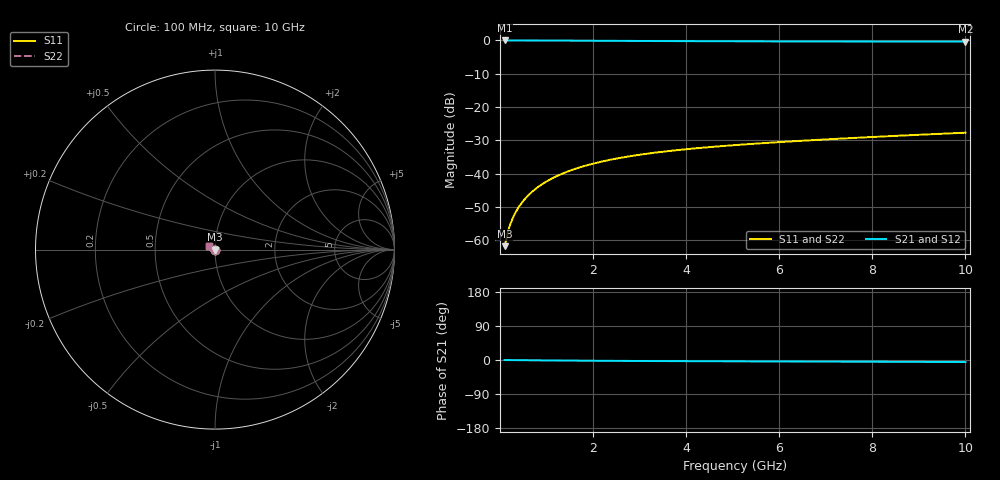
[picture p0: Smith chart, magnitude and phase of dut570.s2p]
! Touchstone file exported from HFSS 2024.1.0
!  File:  C:/UserFiles/LocalFiles/RDL_TSV_Batchsim/temp_TSV1_570_1779708211.aedt
!  Generated:  07:31:42 PM May 25, 2026
!  Design:  TSV1
!  Project:  temp_TSV1_570_1779708211
!  Setup:  Setup1
!  Solution:  Sweep
! Variables:
!  dtsv = 7.43um
!  hbump = 3um
!  htsv = 78.76um
!  lrdl = 252.1521522um
!  p = 40
!  p1 = 56.25um
!  t = 500um
!  trdl = 3um
!  wrdl = 24.89489489um
# GHz S MA R 50.000000
! Terminal data exported
! Port[1] = TSV22_T1
! Port[2] = TSV22_T2
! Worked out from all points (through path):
!   100 points, 100 MHz to 10 GHz, reference 50 ohm
!   highest |S21| = 0.00 dB at 100 MHz (marker M1); lowest = -0.4 dB at 10 GHz (marker M2)
!   lowest |S11| = -61.7 dB at 100 MHz (marker M3), VSWR 1.00, Z = 50 - j0.079 ohm
!   |S11| at or under -10 dB: start of sweep to end of sweep
!   |S22| runs from -61.7 to -27.7 dB; largest |S21 - S12| = 5e-15
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0.1  0.0008217 -74.0  0.9997 -0.1  0.9997 -0.1  0.0008217 -74.0
! Gamma 0 0 0 0
! Port Impedance 50 0 50 0
0.2  0.001595 -85.2  0.9996 -0.2  0.9996 -0.2  0.001595 -85.2
0.3  0.002376 -90.5  0.9994 -0.3  0.9994 -0.3  0.002376 -90.5
0.4  0.003155 -94.3  0.9992 -0.4  0.9992 -0.4  0.003155 -94.3
0.5  0.003929 -97.5  0.9989 -0.6  0.9989 -0.6  0.003929 -97.5
0.6  0.004697 -100.3  0.9986 -0.7  0.9986 -0.7  0.004697 -100.3
0.7  0.005456 -103.0  0.9982 -0.8  0.9982 -0.8  0.005456 -103.0
0.8  0.006206 -105.5  0.9978 -0.9  0.9978 -0.9  0.006206 -105.5
0.9  0.006945 -107.9  0.9973 -1.0  0.9973 -1.0  0.006945 -107.9
1.1  0.008388 -112.6  0.9962 -1.2  0.9962 -1.2  0.008388 -112.6
1.4  0.01045 -119.2  0.9943 -1.5  0.9943 -1.5  0.01045 -119.2
1.6  0.01176 -123.3  0.9929 -1.6  0.9929 -1.6  0.01176 -123.3
1.8  0.013 -127.4  0.9914 -1.8  0.9914 -1.8  0.013 -127.4
2.1  0.01476 -133.1  0.9892 -2.0  0.9892 -2.0  0.01476 -133.1
2.5  0.01691 -140.3  0.9862 -2.3  0.9862 -2.3  0.01691 -140.3
2.9  0.01885 -146.9  0.9833 -2.5  0.9833 -2.5  0.01885 -146.9
3.4  0.02103 -154.5  0.98 -2.8  0.98 -2.8  0.02103 -154.5
4.2  0.02408 -165.2  0.9755 -3.1  0.9755 -3.1  0.02408 -165.2
5.1  0.0271 -175.5  0.9714 -3.5  0.9714 -3.5  0.0271 -175.5
6.7  0.03192 169.7  0.9663 -4.1  0.9663 -4.1  0.03192 169.7
8.4  0.03678 157.5  0.9627 -4.7  0.9627 -4.7  0.03677 157.5
10  0.04133 148.4  0.9603 -5.3  0.9603 -5.3  0.04133 148.4
